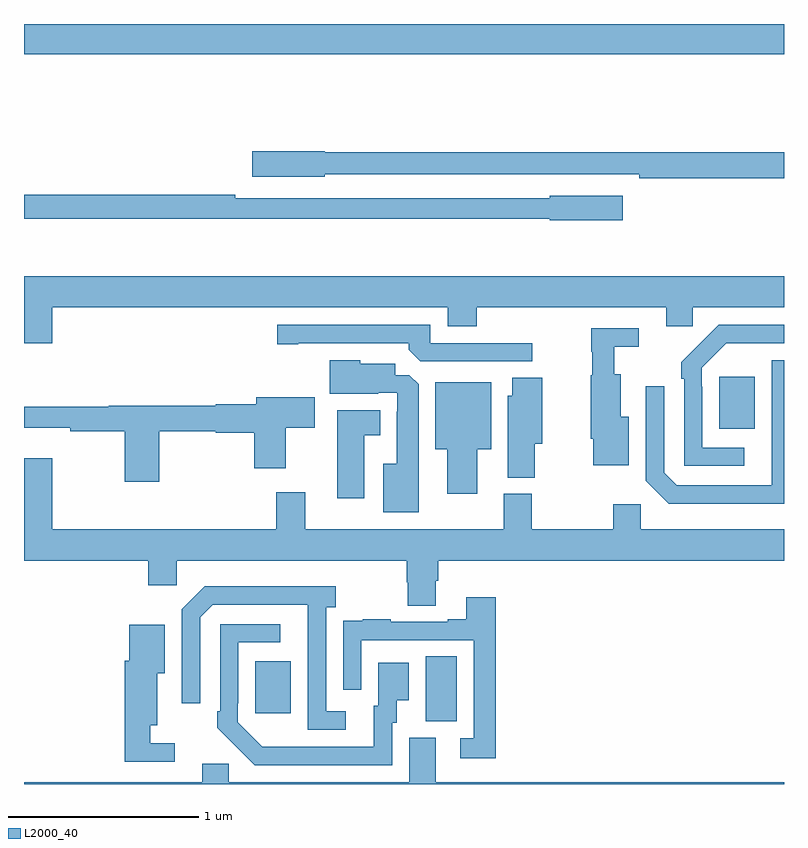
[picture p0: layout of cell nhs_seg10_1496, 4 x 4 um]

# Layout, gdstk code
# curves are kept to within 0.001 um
import gdstk
lib = gdstk.Library(unit=1e-6, precision=1e-09)
def R(c, l, rs):  # rectangles x0, y0, x1, y1
    for r in rs: c.add(gdstk.rectangle(r[:2], r[2:], *l))
def P(c, l, *ps):  # polygons
    for p in ps: c.add(gdstk.Polygon(p, *l))
L2000_40 = (2000, 40)

nhs_seg10_1496 = lib.new_cell('nhs_seg10_1496')
R(nhs_seg10_1496, L2000_40, [(191.114,1272.829,191.278,1273.172), (190.217,1272.873,190.405,1273.147), (192.659,1274.369,192.847,1274.644), (189,1276.34,193,1276.5)])
P(nhs_seg10_1496, L2000_40, [(193,1275.824),(190.584,1275.824),(190.584,1275.83),(190.2,1275.83),(190.2,1275.695),(190.584,1275.695),(190.584,1275.708),(192.238,1275.708),(192.238,1275.688),(193,1275.688)],
  [(192.151,1275.595),(191.766,1275.595),(191.766,1275.582),(190.112,1275.582),(190.112,1275.602),(189,1275.602),(189,1275.474),(191.766,1275.474),(191.766,1275.466),(192.151,1275.466)],
  [(189.148,1275.008),(191.231,1275.008),(191.231,1274.909),(191.384,1274.909),(191.384,1275.008),(192.38,1275.008),(192.38,1274.91),(192.519,1274.91),(192.519,1275.008),(193,1275.008),(193,1275.172),(189,1275.172),(189,1274.82),(189.148,1274.82)],
  [(191.674,1274.82),(191.139,1274.82),(191.139,1274.916),(190.332,1274.916),(190.332,1274.815),(190.444,1274.815),(190.444,1274.82),(191.024,1274.82),(191.024,1274.786),(191.085,1274.724),(191.674,1274.724)],
  [(192.79,1274.271),(192.57,1274.271),(192.57,1274.591),(192.567,1274.591),(192.567,1274.691),(192.696,1274.82),(193,1274.82),(193,1274.916),(192.656,1274.916),(192.459,1274.721),(192.459,1274.633),(192.474,1274.633),(192.474,1274.175),(192.79,1274.175)],
  [(192.184,1274.434),(192.142,1274.434),(192.142,1274.656),(192.106,1274.656),(192.106,1274.801),(192.235,1274.801),(192.235,1274.898),(191.985,1274.898),(191.985,1274.774),(191.992,1274.774),(191.992,1274.652),(191.984,1274.652),(191.984,1274.316),(191.996,1274.316),(191.996,1274.177),(192.184,1274.177)],
  [(191.077,1274.603),(191.028,1274.652),(190.954,1274.652),(190.954,1274.713),(190.77,1274.713),(190.77,1274.731),(190.61,1274.731),(190.61,1274.555),(190.865,1274.555),(190.865,1274.559),(190.965,1274.559),(190.965,1274.459),(190.961,1274.459),(190.961,1274.185),(190.892,1274.185),(190.892,1273.931),(191.077,1273.931)],
  [(193,1274.73),(192.936,1274.73),(192.936,1274.273),(192.935,1274.273),(192.935,1274.073),(192.435,1274.073),(192.369,1274.139),(192.369,1274.593),(192.273,1274.593),(192.273,1274.097),(192.394,1273.976),(193,1273.976)],
  [(191.688,1274.291),(191.728,1274.291),(191.728,1274.639),(191.57,1274.639),(191.57,1274.544),(191.546,1274.544),(191.546,1274.113),(191.688,1274.113)],
  [(191.386,1274.261),(191.458,1274.261),(191.458,1274.614),(191.165,1274.614),(191.165,1274.261),(191.228,1274.261),(191.228,1274.028),(191.386,1274.028)],
  [(189.713,1274.356),(190.008,1274.356),(190.008,1274.348),(190.211,1274.348),(190.211,1274.163),(190.378,1274.163),(190.378,1274.374),(190.531,1274.374),(190.531,1274.536),(190.223,1274.536),(190.223,1274.5),(190.008,1274.5),(190.008,1274.492),(189.446,1274.492),(189.446,1274.485),(189,1274.485),(189,1274.375),(189.244,1274.375),(189.244,1274.356),(189.53,1274.356),(189.53,1274.091),(189.713,1274.091)],
  [(190.792,1274.336),(190.876,1274.336),(190.876,1274.467),(190.649,1274.467),(190.649,1274.004),(190.792,1274.004)],
  [(191.167,1273.57),(191.18,1273.57),(191.18,1273.676),(193,1273.676),(193,1273.84),(192.246,1273.84),(192.246,1273.972),(192.1,1273.972),(192.1,1273.84),(191.673,1273.84),(191.673,1274.028),(191.525,1274.028),(191.525,1273.84),(190.48,1273.84),(190.48,1274.035),(190.328,1274.035),(190.328,1273.84),(189.148,1273.84),(189.148,1274.215),(189,1274.215),(189,1273.676),(189.653,1273.676),(189.653,1273.545),(189.804,1273.545),(189.804,1273.676),(191.015,1273.676),(191.015,1273.563),(191.02,1273.563),(191.02,1273.438),(191.167,1273.438)],
  [(190.693,1272.882),(190.59,1272.882),(190.59,1273.43),(190.642,1273.43),(190.642,1273.54),(189.952,1273.54),(189.831,1273.419),(189.831,1272.924),(189.927,1272.924),(189.927,1273.377),(189.993,1273.443),(190.493,1273.443),(190.494,1272.786),(190.693,1272.786)],
  [(191.483,1273.483),(191.327,1273.483),(191.327,1273.366),(191.231,1273.366),(191.231,1273.353),(190.931,1273.353),(190.931,1273.366),(190.783,1273.366),(190.783,1273.359),(190.681,1273.359),(190.681,1273.25),(190.68,1273.25),(190.68,1272.996),(190.776,1272.996),(190.776,1273.257),(191.367,1273.257),(191.367,1272.741),(191.295,1272.741),(191.295,1272.636),(191.483,1272.636)],
  [(190.938,1272.822),(190.963,1272.822),(190.963,1272.941),(191.026,1272.941),(191.026,1273.138),(190.865,1273.138),(190.865,1272.912),(190.841,1272.912),(190.841,1272.696),(190.254,1272.697),(190.125,1272.825),(190.125,1272.925),(190.128,1272.925),(190.128,1273.245),(190.348,1273.245),(190.348,1273.341),(190.032,1273.341),(190.032,1272.883),(190.017,1272.883),(190.017,1272.795),(190.214,1272.6),(190.938,1272.6)],
  [(189.793,1272.714),(189.664,1272.714),(189.664,1272.809),(189.7,1272.809),(189.7,1273.082),(189.742,1273.082),(189.742,1273.339),(189.554,1273.339),(189.554,1273.149),(189.53,1273.149),(189.53,1272.618),(189.793,1272.618)],
  [(193,1272.508),(191.167,1272.508),(191.167,1272.744),(191.027,1272.744),(191.027,1272.508),(190.077,1272.508),(190.077,1272.606),(189.938,1272.606),(189.938,1272.508),(189,1272.508),(189,1272.5),(193,1272.5)])

lib.write_gds('nhs_seg10_1496.gds')
